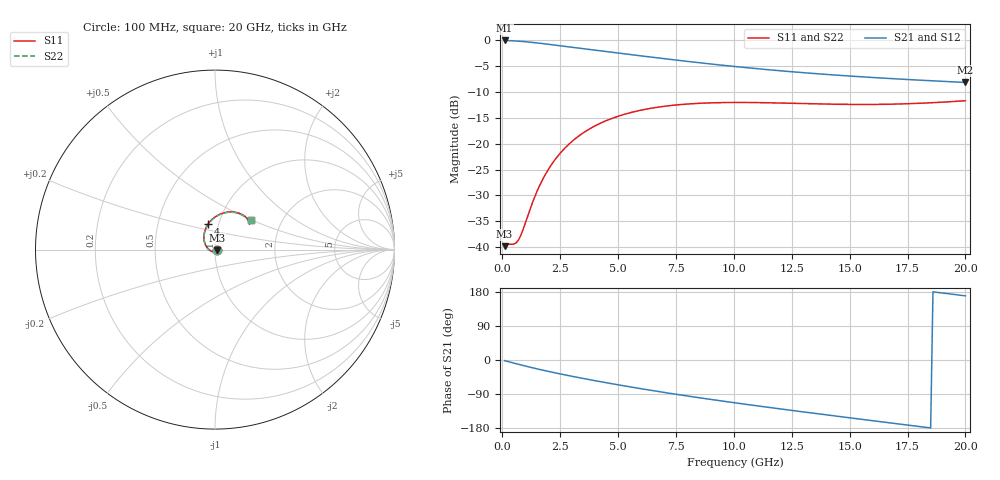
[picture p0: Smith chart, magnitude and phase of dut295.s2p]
! Touchstone file exported from HFSS 2024.1.0
!  File:  C:/UserFiles/LocalFiles/RDL_TSV_Batchsim/temp_RDL_TSV_295_1779468367.aedt
!  Generated:  12:57:32 AM May 23, 2026
!  Design:  RDL_TSV
!  Project:  temp_RDL_TSV_295_1779468367
!  Setup:  Setup1
!  Solution:  Sweep
! Variables:
!  dtsv = 11.17um
!  hbump = 3um
!  htsv = 65.91um
!  ldown = 168.69um
!  lrdl = 586.53um
!  p = 40
!  p1 = 45.47um
!  rhole = 10um
!  subl = 2852.19um
!  t = 450um
!  tdown = 3.82um
!  trdl = 4.56um
!  viad = 10um
!  wdown = 24.46um
!  wrdl = 24.62um
!  xbump = 18um
# GHz S MA R 50.000000
! Terminal data exported
! Port[1] = TM1_1_T1
! Port[2] = TM1_4_T1
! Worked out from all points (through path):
!   200 points, 100 MHz to 20 GHz, reference 50 ohm
!   highest |S21| = -0.09 dB at 100 MHz (marker M1); lowest = -8.2 dB at 20 GHz (marker M2)
!   group delay of S21, straight-line fit = 25.1 ps
!   lowest |S11| = -39.8 dB at 100 MHz (marker M3), VSWR 1.02, Z = 51 - j0.137 ohm
!   |S11| at or under -10 dB: start of sweep to end of sweep
!   |S22| runs from -39.8 to -11.8 dB; largest |S21 - S12| = 8.6e-15
!   S11 on the Smith chart (normalised r, x): 100 MHz: 1.02, -0.00; 4 GHz: 0.89, +0.26; 20 GHz: 1.40, +0.49
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0.1  0.01024 -7.5  0.9893 -1.7  0.9893 -1.7  0.01025 -7.5
! Gamma 0 0 0 0
! Port Impedance 50 0 50 0
0.3  0.01069 -30.3  0.9856 -5.0  0.9856 -5.0  0.0107 -30.3
0.5  0.01073 -60.4  0.9805 -8.2  0.9805 -8.2  0.01075 -60.3
0.7  0.01176 -94.7  0.9741 -11.4  0.9741 -11.4  0.01177 -94.5
0.9  0.01488 -125.9  0.9663 -14.5  0.9663 -14.5  0.01486 -125.6
1.3  0.02681 -167.0  0.9472 -20.5  0.9472 -20.5  0.02671 -166.8
1.5  0.03461 179.7  0.9365 -23.3  0.9365 -23.3  0.03447 179.8
1.8  0.04763 164.2  0.9196 -27.5  0.9196 -27.5  0.04741 164.3
2.2  0.06635 148.4  0.8964 -32.9  0.8964 -32.9  0.06602 148.5
2.8  0.09512 130.4  0.862 -40.5  0.862 -40.5  0.09461 130.5
3.5  0.1272 114.2  0.8236 -48.8  0.8236 -48.8  0.1265 114.2
4  0.1481 104.7  0.7974 -54.5  0.7974 -54.5  0.1472 104.7
5.3  0.1926 85.0  0.7338 -68.6  0.7338 -68.6  0.1914 85.0
6.8  0.2261 68.3  0.6678 -83.7  0.6678 -83.7  0.2245 68.3
8.4  0.2442 55.5  0.6068 -98.7  0.6068 -98.7  0.2424 55.4
10.1  0.2496 46.0  0.5527 -113.5  0.5527 -113.5  0.2476 45.9
11.7  0.2473 40.2  0.5113 -126.6  0.5113 -126.6  0.2452 40.2
13.4  0.2422 37.1  0.4758 -140.1  0.4758 -140.1  0.2401 37.1
15  0.2389 36.2  0.4487 -152.5  0.4487 -152.5  0.2368 36.3
16.7  0.2399 36.9  0.4251 -165.6  0.4251 -165.6  0.2379 37.0
18.3  0.2465 38.1  0.4064 -177.8  0.4064 -177.8  0.2447 38.2
20  0.2591 38.9  0.3893 169.3  0.3893 169.3  0.2574 39.1
